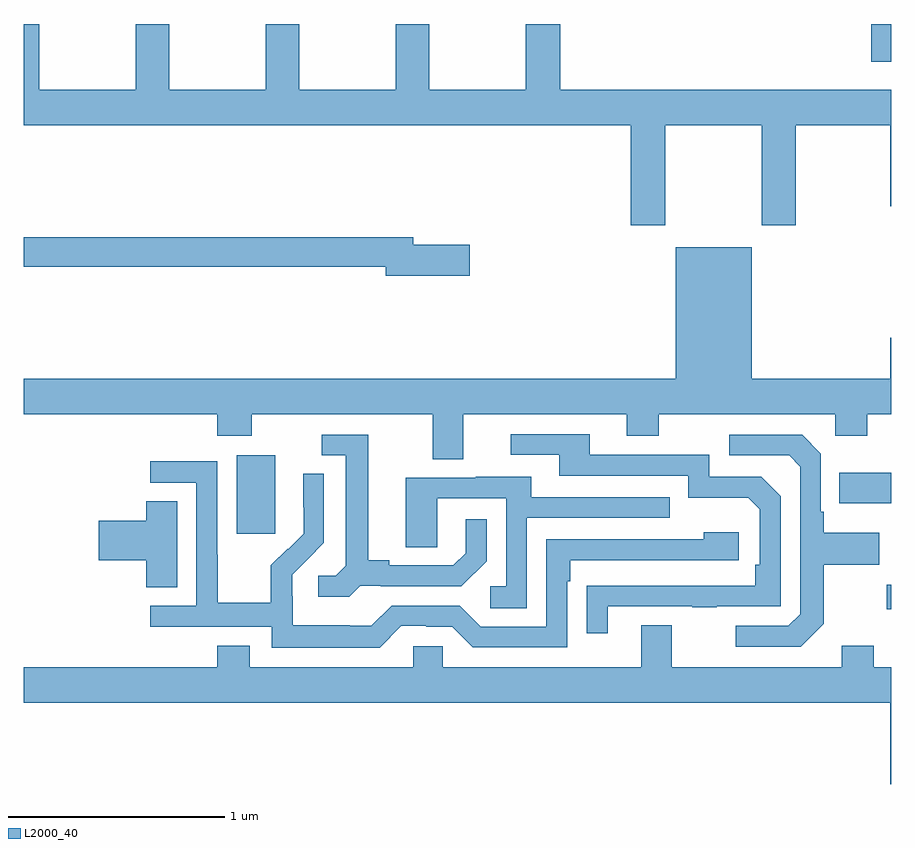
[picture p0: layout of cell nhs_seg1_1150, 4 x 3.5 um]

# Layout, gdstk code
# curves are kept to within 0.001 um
import gdstk
lib = gdstk.Library(unit=1e-6, precision=1e-09)
def R(c, l, rs):  # rectangles x0, y0, x1, y1
    for r in rs: c.add(gdstk.rectangle(r[:2], r[2:], *l))
def P(c, l, *ps):  # polygons
    for p in ps: c.add(gdstk.Polygon(p, *l))
L2000_40 = (2000, 40)

nhs_seg1_1150 = lib.new_cell('nhs_seg1_1150')
R(nhs_seg1_1150, L2000_40, [(176.979,549.501,177,549.614), (173.981,549.849,174.16,550.21), (176.761,549.989,177,550.129), (176.909,552.024,177,552.199)])
P(nhs_seg1_1150, L2000_40, [(175.475,552.199),(175.315,552.199),(175.315,551.896),(174.87,551.896),(174.87,552.199),(174.715,552.199),(174.715,551.896),(174.27,551.896),(174.27,552.199),(174.115,552.199),(174.115,551.896),(173.67,551.896),(173.67,552.199),(173.515,552.199),(173.515,551.896),(173.07,551.896),(173.07,552.199),(173,552.199),(173,551.732),(175.799,551.732),(175.799,551.271),(175.959,551.271),(175.959,551.732),(176.404,551.732),(176.404,551.271),(176.559,551.271),(176.559,551.732),(176.996,551.732),(176.996,551.358),(177,551.358),(177,551.896),(175.475,551.896)],
  [(175.057,551.18),(174.796,551.18),(174.796,551.216),(173,551.216),(173,551.08),(174.668,551.08),(174.668,551.038),(175.057,551.038)],
  [(175.027,550.4),(175.781,550.4),(175.781,550.301),(175.929,550.301),(175.929,550.4),(176.742,550.4),(176.742,550.301),(176.889,550.301),(176.889,550.4),(177,550.4),(177,550.753),(176.996,550.753),(176.996,550.564),(176.356,550.564),(176.356,551.17),(176.006,551.17),(176.006,550.564),(173,550.564),(173,550.4),(173.891,550.4),(173.891,550.301),(174.051,550.301),(174.051,550.4),(174.887,550.4),(174.887,550.192),(175.027,550.192)],
  [(175.693,549.513),(176.083,549.513),(176.083,549.508),(176.195,549.508),(176.195,549.513),(176.49,549.513),(176.49,550.02),(176.4,550.11),(176.16,550.11),(176.16,550.212),(175.609,550.212),(175.609,550.308),(175.245,550.308),(175.245,550.212),(175.469,550.212),(175.469,550.116),(176.064,550.116),(176.064,550.013),(176.341,550.013),(176.394,549.96),(176.394,549.706),(176.374,549.706),(176.374,549.609),(175.597,549.608),(175.597,549.39),(175.693,549.39)],
  [(176.689,549.433),(176.689,549.706),(176.945,549.706),(176.945,549.853),(176.689,549.853),(176.689,549.949),(176.676,549.949),(176.676,550.218),(176.589,550.305),(176.253,550.305),(176.253,550.209),(176.529,550.209),(176.58,550.158),(176.58,549.477),(176.526,549.423),(176.283,549.423),(176.283,549.327),(176.583,549.327)],
  [(174.552,549.609),(174.646,549.609),(174.646,549.606),(175.018,549.606),(175.134,549.722),(175.134,549.916),(175.037,549.916),(175.037,549.759),(174.98,549.702),(174.685,549.702),(174.685,549.725),(174.589,549.725),(174.589,550.305),(174.375,550.305),(174.375,550.209),(174.485,550.209),(174.485,549.701),(174.438,549.654),(174.357,549.654),(174.357,549.557),(174.5,549.557)],
  [(174.741,549.423),(174.857,549.423),(174.857,549.42),(174.975,549.42),(175.071,549.324),(175.506,549.324),(175.506,549.629),(175.519,549.629),(175.519,549.726),(176.296,549.726),(176.296,549.856),(176.135,549.856),(176.135,549.822),(175.41,549.822),(175.41,549.42),(175.107,549.42),(175.011,549.516),(174.696,549.516),(174.603,549.423),(174.503,549.423),(174.503,549.427),(174.24,549.427),(174.24,549.561),(174.238,549.561),(174.238,549.658),(174.384,549.806),(174.384,550.124),(174.288,550.124),(174.288,549.97),(174.29,549.97),(174.29,549.848),(174.219,549.777),(174.216,549.78),(174.139,549.703),(174.139,549.529),(173.895,549.529),(173.895,549.752),(173.892,549.752),(173.892,550.182),(173.583,550.182),(173.583,550.083),(173.796,550.083),(173.796,549.516),(173.583,549.516),(173.583,549.42),(174.144,549.42),(174.144,549.323),(174.641,549.323)],
  [(175.32,549.921),(175.979,549.921),(175.979,550.017),(175.339,550.017),(175.339,550.111),(175.085,550.111),(175.085,550.107),(174.761,550.107),(174.761,549.787),(174.906,549.787),(174.906,550.011),(175.224,550.011),(175.224,549.606),(175.152,549.606),(175.152,549.505),(175.32,549.505)],
  [(173.707,549.998),(173.564,549.998),(173.564,549.908),(173.346,549.908),(173.346,549.725),(173.564,549.725),(173.564,549.601),(173.707,549.601)],
  [(176.771,549.331),(176.771,549.232),(175.987,549.232),(175.987,549.427),(175.847,549.427),(175.847,549.232),(174.933,549.232),(174.933,549.33),(174.795,549.33),(174.795,549.232),(174.043,549.232),(174.043,549.331),(173.891,549.331),(173.891,549.232),(173,549.232),(173,549.068),(176.996,549.068),(176.996,548.694),(177,548.694),(177,549.232),(176.919,549.232),(176.919,549.331)])

lib.write_gds('nhs_seg1_1150.gds')
